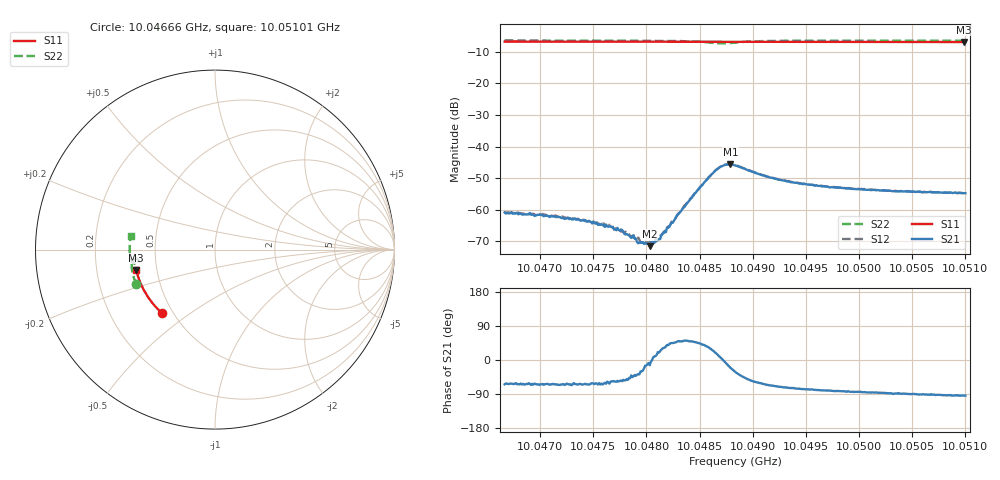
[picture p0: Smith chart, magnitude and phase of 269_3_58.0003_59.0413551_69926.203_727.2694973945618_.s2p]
#  HZ  S  RI  R  50.00
! Rohde & Schwarz Vector Network Analyzer
! Rohde-Schwarz,ZNB20-2Port,1311601062101988,3.16
! Created: UTC 3/21/2024, 1:02:18 AM
! freq[Hz]  re:S11  im:S11  re:S21  im:S21  re:S12  im:S12  re:S22  im:S22
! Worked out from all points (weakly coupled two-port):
!   401 points, 10.04666 GHz to 10.05101 GHz, reference 50 ohm
!   highest |S21| = -45.63 dB at 10.04879 GHz (marker M1); lowest = -71.5 dB at 10.04803 GHz (marker M2)
!   lowest |S11| = -6.9 dB at 10.05099 GHz (marker M3), VSWR 2.66, Z = 19.1 - j5.44 ohm
!   |S11| at or under -10 dB: nowhere
!   |S22| runs from -7.3 to -6.4 dB; largest |S21 - S12| = 0.00036
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1.0046663e10  -0.2948 -0.3543  0.000398 -0.000819  0.000474 -0.000776  -0.4389 -0.1933
1.0047032e10  -0.3125 -0.3377  0.000331 -0.00072  0.000431 -0.000723  -0.4477 -0.1699
1.004739e10  -0.329 -0.3205  0.000292 -0.00062  0.000332 -0.000591  -0.4551 -0.1462
1.0047586e10  -0.3376 -0.3109  0.000247 -0.000524  0.000316 -0.0005  -0.4586 -0.1329
1.0047749e10  -0.3446 -0.3027  0.000267 -0.000384  0.00029 -0.000381  -0.4609 -0.1214
1.0047835e10  -0.3482 -0.2982  0.000266 -0.000292  0.000293 -0.00029  -0.4622 -0.1149
1.0047879e10  -0.3499 -0.296  0.000293 -0.000268  0.000291 -0.000217  -0.4627 -0.1117
1.0047933e10  -0.3522 -0.2932  0.00024 -0.000187  0.000292 -0.000171  -0.4633 -0.1075
1.0048031e10  -0.3562 -0.288  0.000258 -6.38e-05  0.000311 -1.57e-05  -0.4641 -0.0999
1.0048063e10  -0.3574 -0.2862  0.00029 3.4e-05  0.000298 4.62e-05  -0.4643 -0.0973
1.0048118e10  -0.3596 -0.2834  0.000323 0.000117  0.000329 0.000155  -0.4645 -0.0928
1.0048194e10  -0.3626 -0.2794  0.000406 0.000336  0.0004 0.000315  -0.4645 -0.0861
1.0048346e10  -0.3683 -0.2711  0.000687 0.000827  0.000657 0.000864  -0.4625 -0.072
1.0048606e10  -0.3777 -0.2567  0.00307 0.00173  0.00299 0.00193  -0.4401 -0.0501
1.0048704e10  -0.3808 -0.2514  0.00485 0.000418  0.00485 0.000716  -0.4258 -0.0589
1.0048791e10  -0.3836 -0.2468  0.0049 -0.00183  0.00505 -0.00152  -0.429 -0.0747
1.0048834e10  -0.3854 -0.2444  0.00435 -0.00259  0.00454 -0.00232  -0.4357 -0.0787
1.0049149e10  -0.3958 -0.2266  0.00135 -0.00303  0.00153 -0.00298  -0.4668 -0.0581
1.0049561e10  -0.408 -0.2023  0.000528 -0.00243  0.000665 -0.00242  -0.4747 -0.0242
1.0050289e10  -0.426 -0.1579  5.8e-05 -0.00201  0.000181 -0.002  -0.4751 0.028
1.0050994e10  -0.4388 -0.1133  -0.000136 -0.00184  -5.73e-05 -0.00184  -0.4696 0.0752
1.0051005e10  -0.4389 -0.1127  -0.000126 -0.00183  -5.1e-05 -0.00187  -0.4695 0.076
